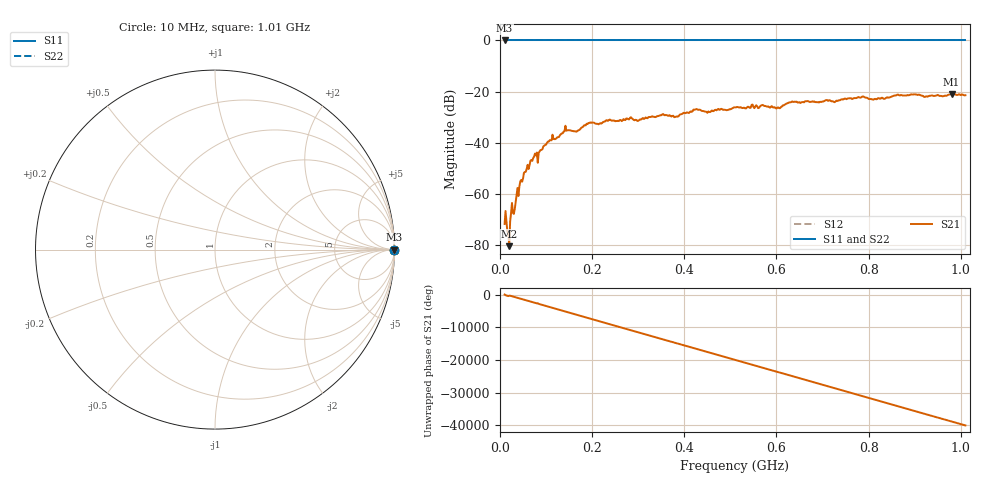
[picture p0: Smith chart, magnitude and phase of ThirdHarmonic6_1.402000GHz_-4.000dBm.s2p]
! 8/16/2025 4:01:43 PM
! C:\ANRITSUVNA\TEMP\TEMP.S2P
! CHANNEL.1
! TR.MEASUREMENT
! RAW.DATA
! RF.CORRECTION.OFF
! AVERAGING.OFF
! IF.BANDWIDTH: 5KHZ
! SWEEPTYPE:  FREQ.SWEEP(Linear)
! Reference Plane Port Info
! PORT:  PORT1  PORT2
! DISTANCE:  0  m  0  m
! TIME:  0  s  0  s
! PHASE.OFFSET:  0  deg.  0  deg.
! LOSS:  0  dB  0  dB
! REF.LOSS:  0  dB  0  dB
! REF.FREQ:  0  Hz  0  Hz
! Power Info
! POWER:  -20  dBm  -20  dBm
! EFF.POWER:  -20  dBm  -20  dBm
! SOURCE.ATTEN:  0  dB  0  dB
! TEST.ATTEN:  0  dB  0  dB
# GHZ S RI R 50.0
! FREQ.GHZ  S11RE  S11IM  S21RE  S21IM  S12RE  S12IM  S22RE  S22IM
!; PortSelection: Port_12
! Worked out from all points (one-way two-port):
!   501 points, 10 MHz to 1.01 GHz, reference 50 ohm
!   highest |S21| = -20.91 dB at 980 MHz (marker M1); lowest = -80.5 dB at 20 MHz (marker M2)
!   lowest |S11| = 0.0 dB at 10 MHz (marker M3)
!   |S11| at or under -10 dB: nowhere
!   |S22| runs from 0.0 to 0.0 dB; largest |S21 - S12| = 1.1
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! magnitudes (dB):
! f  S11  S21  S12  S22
! 10 MHz  0.0  -71.8  0.0  0.0
! 18 MHz  0.0  -75.1  0.0  0.0
! 20 MHz  0.0  -80.5  0.0  0.0
! 26 MHz  0.0  -63.6  0.0  0.0
! 32 MHz  0.0  -66.0  0.0  0.0
! 42 MHz  0.0  -57.2  0.0  0.0
! 56 MHz  0.0  -51.4  0.0  0.0
! 76 MHz  0.0  -44.3  0.0  0.0
! 142 MHz  0.0  -33.4  0.0  0.0
! 164 MHz  0.0  -35.6  0.0  0.0
! 178 MHz  0.0  -34.0  0.0  0.0
! 196 MHz  0.0  -32.1  0.0  0.0
! 344 MHz  0.0  -29.6  0.0  0.0
! 382 MHz  0.0  -29.9  0.0  0.0
! 424 MHz  0.0  -27.0  0.0  0.0
! 510 MHz  0.0  -26.2  0.0  0.0
! 604 MHz  0.0  -26.2  0.0  0.0
! 632 MHz  0.0  -24.1  0.0  0.0
! 678 MHz  0.0  -23.8  0.0  0.0
! 844 MHz  0.0  -22.4  0.0  0.0
! 980 MHz  0.0  -20.9  0.0  0.0
! 1.01 GHz  0.0  -21.4  0.0  0.0
